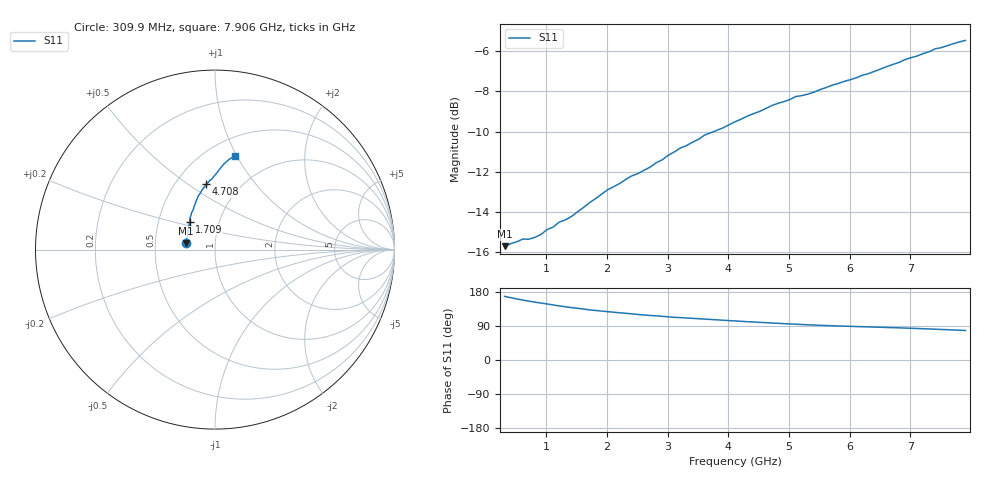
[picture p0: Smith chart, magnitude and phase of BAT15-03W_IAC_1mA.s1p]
! Infineon Technologies  Discrete & RF Semiconductors
! BAT15-03W-E6327
! IAC = 1 mA
! One-Port S-Parameters
# Hz  S  MA  R  50
!f  S11
!Hz  Mag  Ang
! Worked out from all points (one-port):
!   77 points, 309.9 MHz to 7.906 GHz, reference 50 ohm
!   lowest |S11| = -15.7 dB at 309.9 MHz (marker M1), VSWR 1.39, Z = 36.1 + j2.55 ohm
!   |S11| at or under -10 dB: start of sweep to 3.757 GHz
!   S11 on the Smith chart (normalised r, x): 309.9 MHz: 0.72, +0.05; 1.709 GHz: 0.72, +0.23; 4.708 GHz: 0.70, +0.59; 7.906 GHz: 0.67, +0.98
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3.0985e8  0.1639 167.9
6.097e8  0.1707 158.2
7.0965e8  0.1706 155.3
8.096e8  0.1724 152.7
9.0955e8  0.1752 150.2
1.0095e9  0.1803 147.9
1.10945e9  0.1828 145.3
1.2094e9  0.1881 142.8
1.30935e9  0.1905 140.5
1.4093e9  0.1942 138.3
1.70915e9  0.2103 132.2
2.009e9  0.2265 127.6
2.2089e9  0.2349 124.6
2.4088e9  0.2454 121.7
2.70865e9  0.2579 117.4
3.2084e9  0.2879 111.8
3.50825e9  0.3026 108.9
3.6082e9  0.31 107.9
4.10795e9  0.3345 103.1
4.70765e9  0.3669 97.7
5.0075e9  0.3796 95.2
5.10745e9  0.3866 94.5
5.30735e9  0.392 92.9
6.007e9  0.4257 88.8
6.50675e9  0.4527 86.4
7.0065e9  0.4831 83.7
7.4063e9  0.5083 81.3
7.90605e9  0.5333 77.9
